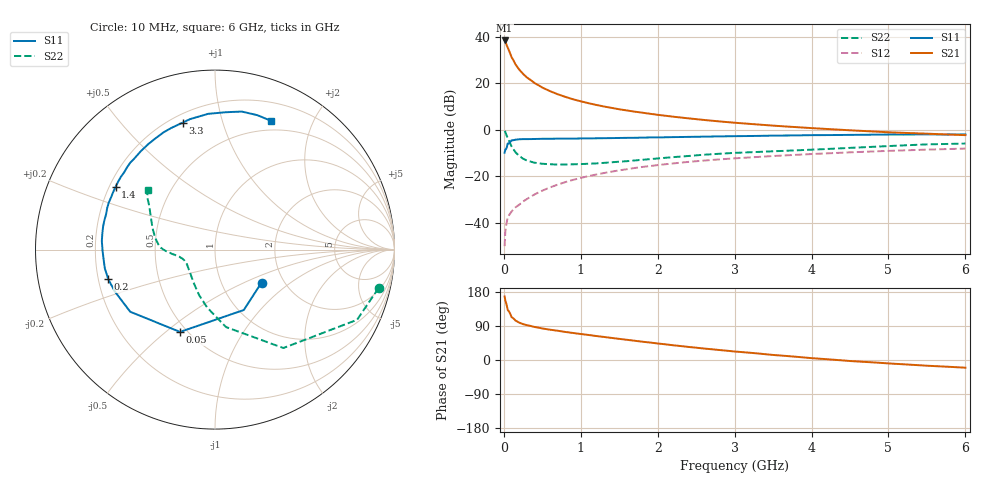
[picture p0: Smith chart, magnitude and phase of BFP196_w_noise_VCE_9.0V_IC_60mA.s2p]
! Infineon Technologies  Discrete & RF Semiconductors
! BFP196
! VCE =  9.0 V,  IC =  60 mA
! Common Emitter S-Parameters:  Jan 2017
# GHz  S  MA  R  50
!  f  S11  S21  S12  S22
! GHz  MAG  ANG  MAG  ANG  MAG  ANG  MAG  ANG
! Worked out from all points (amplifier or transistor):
!   77 points, 10 MHz to 6 GHz, reference 50 ohm
!   highest |S21| = 38.3 dB at 10 MHz (marker M1)
!   |S21| within 3 dB of that: start of sweep to 49.2 MHz
!   unconditionally stable (mu >= 1): 543.6 MHz to 2.372 GHz
!   at 130 MHz: K = 0.62, MSG = 31.8 dB, |S12| = -34.2 dB
!   at 2.2 GHz: K = 1.01, MAG = 9.5 dB, |S12| = -14.6 dB
!   at 6 GHz: K = 0.94, MSG = 2.9 dB, |S12| = -8.2 dB
!   lowest NFmin = 1.56 dB at 450 MHz
!   S11 on the Smith chart (normalised r, x): 10 MHz: 1.54, -0.63; 50 MHz: 0.46, -0.56; 200 MHz: 0.24, -0.13; 1.4 GHz: 0.23, +0.28; 3.3 GHz: 0.25, +0.75; 6 GHz: 0.39, +1.45
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0.01  0.3178 -35.3  82.48 167.5  0.0031 82.7  0.9364 -13.2
0.02  0.3728 -64.5  78.35 156.7  0.0066 80.0  0.883 -26.3
0.05  0.4981 -113.0  57.98 132.5  0.0128 57.5  0.6676 -55.2
0.1  0.5856 -143.7  36.24 113.3  0.0172 54.9  0.4359 -81.9
0.15  0.6049 -157.3  25.45 104.3  0.0211 53.1  0.3262 -97.6
0.2  0.6172 -164.5  19.49 98.7  0.0242 58.1  0.2703 -108.8
0.25  0.6226 -170.3  15.74 94.6  0.0284 59.8  0.2362 -117.2
0.3  0.6227 -174.0  13.18 91.9  0.032 62.1  0.2157 -124.4
0.4  0.6266 -179.6  9.983 87.1  0.0402 64.4  0.1935 -134.4
0.5  0.6324 175.6  8.002 83.3  0.0485 66.0  0.1838 -141.9
0.6  0.634 171.8  6.702 80.0  0.0569 66.6  0.1792 -147.8
0.7  0.6365 168.5  5.749 77.2  0.0653 67.2  0.1763 -152.0
0.9  0.638 162.0  4.477 71.3  0.0827 65.9  0.1786 -157.6
1.1  0.6472 156.1  3.691 66.1  0.0996 64.6  0.1837 -162.3
1.4  0.6546 147.8  2.926 58.3  0.1242 61.4  0.1977 -167.3
1.7  0.6645 139.6  2.428 50.8  0.1489 57.8  0.2164 -170.7
2.1  0.6817 129.3  1.982 41.4  0.1792 52.4  0.2467 -175.2
3.1  0.7226 108.0  1.362 20.8  0.2457 39.2  0.3197 173.9
3.3  0.7299 104.3  1.285 17.3  0.2574 36.7  0.3298 171.2
4.1  0.7584 91.4  1.051 3.5  0.3022 27.1  0.3752 159.0
5.1  0.783 77.7  0.861 -10.2  0.352 15.5  0.4489 145.3
6  0.7824 66.6  0.758 -20.3  0.3901 5.5  0.4993 138.2
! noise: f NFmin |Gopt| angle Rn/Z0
0.45  1.56  0.41  -174  0.06
0.9  1.72  0.48  -162  0.08
1.9  2.54  0.68  -132  0.35
2.4  2.93  0.7  -119  0.72
